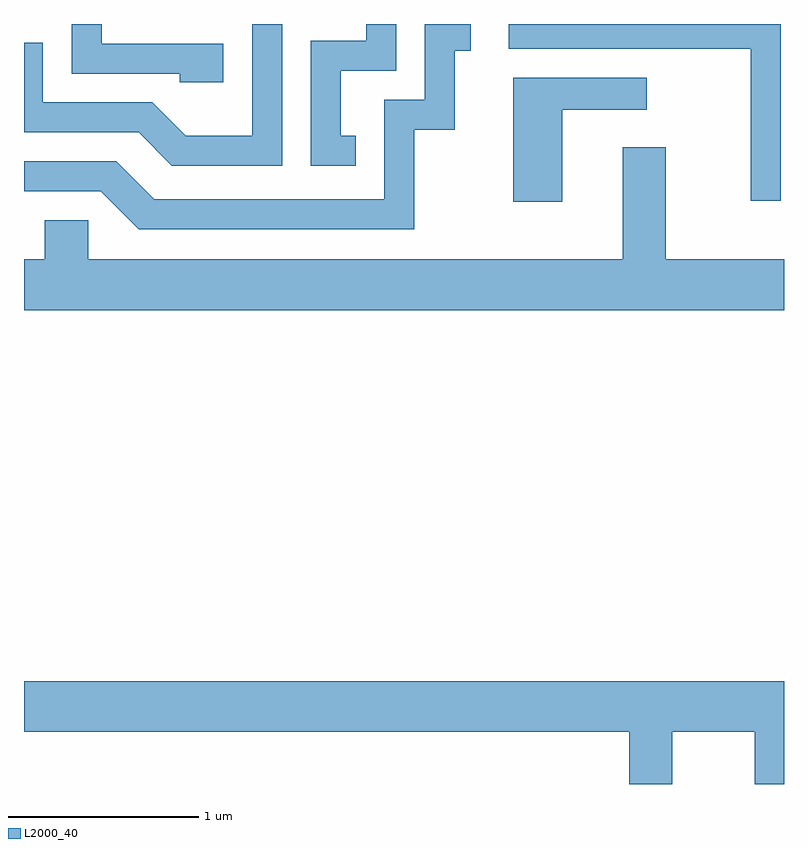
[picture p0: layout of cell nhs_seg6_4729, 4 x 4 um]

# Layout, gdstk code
import gdstk
lib = gdstk.Library(unit=1e-6, precision=1e-09)
def P(c, l, *ps):  # polygons
    for p in ps: c.add(gdstk.Polygon(p, *l))
L2000_40 = (2000, 40)

nhs_seg6_4729 = lib.new_cell('nhs_seg6_4729')
P(nhs_seg6_4729, L2000_40, [(331.664,1597.606),(331.879,1597.606),(331.879,1598.021),(331.963,1598.021),(331.963,1598.162),(331.721,1598.162),(331.721,1597.764),(331.506,1597.764),(331.506,1597.239),(330.297,1597.239),(330.097,1597.439),(329.611,1597.439),(329.611,1597.281),(330.014,1597.281),(330.214,1597.081),(331.664,1597.081)],
  [(333.594,1598.162),(332.163,1598.162),(332.163,1598.031),(333.436,1598.031),(333.436,1597.233),(333.594,1597.233)],
  [(330.659,1598.059),(330.019,1598.059),(330.019,1598.162),(329.861,1598.162),(329.861,1597.901),(330.431,1597.901),(330.431,1597.856),(330.659,1597.856)],
  [(331.358,1597.574),(331.279,1597.574),(331.279,1597.916),(331.569,1597.916),(331.569,1598.162),(331.411,1598.162),(331.411,1598.074),(331.121,1598.074),(331.121,1597.416),(331.358,1597.416)],
  [(330.969,1598.162),(330.811,1598.162),(330.811,1597.574),(330.462,1597.574),(330.287,1597.749),(329.709,1597.749),(329.709,1598.064),(329.611,1598.064),(329.611,1597.591),(330.214,1597.591),(330.389,1597.416),(330.969,1597.416)],
  [(332.444,1597.711),(332.888,1597.711),(332.888,1597.879),(332.186,1597.879),(332.186,1597.226),(332.444,1597.226)],
  [(333.611,1596.924),(332.989,1596.924),(332.989,1597.514),(332.761,1597.514),(332.761,1596.924),(329.949,1596.924),(329.949,1597.129),(329.721,1597.129),(329.721,1596.924),(329.611,1596.924),(329.611,1596.656),(333.611,1596.656)],
  [(333.024,1594.436),(333.456,1594.436),(333.456,1594.162),(333.611,1594.162),(333.611,1594.704),(329.611,1594.704),(329.611,1594.436),(332.796,1594.436),(332.796,1594.162),(333.024,1594.162)])

lib.write_gds('nhs_seg6_4729.gds')
